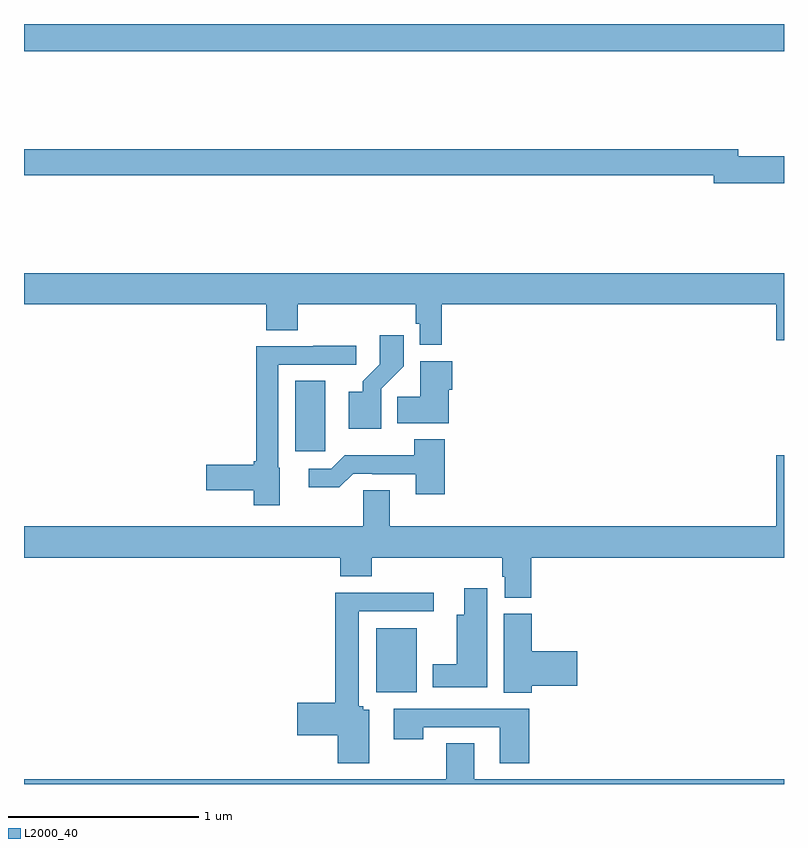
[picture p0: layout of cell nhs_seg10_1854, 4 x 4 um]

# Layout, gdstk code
import gdstk
lib = gdstk.Library(unit=1e-6, precision=1e-09)
def R(c, l, rs):  # rectangles x0, y0, x1, y1
    for r in rs: c.add(gdstk.rectangle(r[:2], r[2:], *l))
def P(c, l, *ps):  # polygons
    for p in ps: c.add(gdstk.Polygon(p, *l))
L2000_40 = (2000, 40)

nhs_seg10_1854 = lib.new_cell('nhs_seg10_1854')
R(nhs_seg10_1854, L2000_40, [(210.854,1256.984,211.066,1257.319), (210.428,1258.251,210.586,1258.622), (209,1260.356,213,1260.5)])
P(nhs_seg10_1854, L2000_40, [(213,1259.804),(212.758,1259.804),(212.758,1259.84),(209,1259.84),(209,1259.704),(212.63,1259.704),(212.63,1259.662),(213,1259.662)],
  [(211.199,1259.024),(212.96,1259.024),(212.96,1258.836),(213,1258.836),(213,1259.188),(209,1259.188),(209,1259.024),(210.275,1259.024),(210.275,1258.888),(210.44,1258.888),(210.44,1259.024),(211.063,1259.024),(211.063,1258.923),(211.083,1258.923),(211.083,1258.811),(211.199,1258.811)],
  [(210.879,1258.579),(210.998,1258.698),(210.998,1258.861),(210.873,1258.861),(210.873,1258.709),(210.782,1258.619),(210.782,1258.564),(210.71,1258.564),(210.71,1258.371),(210.879,1258.371)],
  [(210.346,1258.164),(210.339,1258.164),(210.339,1258.707),(210.748,1258.707),(210.748,1258.806),(210.523,1258.806),(210.523,1258.803),(210.223,1258.803),(210.223,1258.199),(210.21,1258.199),(210.21,1258.181),(209.958,1258.181),(209.958,1258.046),(210.21,1258.046),(210.21,1257.968),(210.346,1257.968)],
  [(211.235,1258.574),(211.255,1258.574),(211.255,1258.726),(211.085,1258.726),(211.085,1258.538),(210.964,1258.538),(210.964,1258.4),(211.235,1258.4)],
  [(211.214,1258.315),(211.054,1258.315),(211.054,1258.229),(210.689,1258.229),(210.618,1258.158),(210.498,1258.158),(210.498,1258.061),(210.659,1258.061),(210.732,1258.134),(210.832,1258.134),(210.832,1258.131),(211.061,1258.131),(211.061,1258.026),(211.214,1258.026)],
  [(211.67,1257.692),(213,1257.692),(213,1258.231),(212.96,1258.231),(212.96,1257.856),(210.925,1257.856),(210.925,1258.046),(210.786,1258.046),(210.786,1257.856),(209,1257.856),(209,1257.692),(210.665,1257.692),(210.665,1257.593),(210.83,1257.593),(210.83,1257.692),(211.517,1257.692),(211.517,1257.591),(211.529,1257.591),(211.529,1257.481),(211.67,1257.481)],
  [(211.438,1257.529),(211.316,1257.529),(211.316,1257.391),(211.277,1257.391),(211.277,1257.13),(211.151,1257.13),(211.151,1257.008),(211.438,1257.008)],
  [(210.817,1256.892),(210.786,1256.892),(210.786,1256.91),(210.763,1256.91),(210.763,1257.408),(211.156,1257.408),(211.156,1257.506),(210.638,1257.506),(210.638,1256.927),(210.438,1256.927),(210.438,1256.756),(210.65,1256.756),(210.65,1256.61),(210.817,1256.61)],
  [(211.673,1257.017),(211.912,1257.017),(211.912,1257.2),(211.673,1257.2),(211.673,1257.396),(211.526,1257.396),(211.526,1256.98),(211.673,1256.98)],
  [(211.658,1256.895),(210.945,1256.895),(210.945,1256.736),(211.101,1256.736),(211.101,1256.799),(211.505,1256.799),(211.505,1256.61),(211.658,1256.61)],
  [(213,1256.524),(211.369,1256.524),(211.369,1256.714),(211.222,1256.714),(211.222,1256.524),(209,1256.524),(209,1256.5),(213,1256.5)])

lib.write_gds('nhs_seg10_1854.gds')
